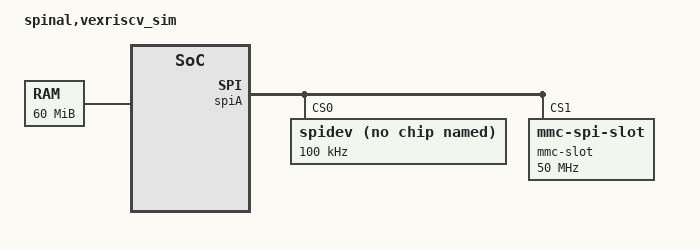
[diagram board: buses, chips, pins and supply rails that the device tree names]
/dts-v1/;

/ {
	#address-cells = <0x1>;
	#size-cells = <0x1>;
	compatible = "spinal,vexriscv";
	model = "spinal,vexriscv_sim";

	chosen {
		bootargs = "rootwait console=hvc0 root=/dev/ram0 init=/sbin/init swiotlb=32 loglevel=7";
		linux,initrd-start = <0x80C00000>;
		linux,initrd-end =   <0x82000000>; 
	};


    cpus {
		#address-cells = <0x1>;
		#size-cells = <0x0>;
		timebase-frequency = <100000000>;
            cpu@0 {
                    device_type = "cpu";
                    compatible = "riscv";
                    riscv,isa = "rv32im";
                    mmu-type = "riscv,sv32";
                    reg = <0>;
                    status = "okay";
                    L1: interrupt-controller {
                            #interrupt-cells = <0x00000001>;
                            interrupt-controller;
                            compatible = "riscv,cpu-intc";
                    };
	        };
        };

	memory@80400000 {
		device_type = "memory";
		reg = <0x80400000 0x03C00000>;
	};
	
	apbA@10000000 {
		compatible = "simple-bus";
		#address-cells = <0x1>;
		#size-cells = <0x1>;
        ranges = <0x0 0x10000000 0x01000000>;

		plic: interrupt-controller@c00000 {
			compatible = "sifive,plic-1.0.0", "sifive,fu540-c000-plic";
			#interrupt-cells = <1>;
			interrupt-controller;
			interrupts-extended = <&L1 11 &L1 9>;
			reg = <0x00C00000 0x400000>;
			riscv,ndev = <32>;
		};


        spiA: spi@20000 {
	        compatible = "spinal-lib,spi-1.0";
            #address-cells = <1>;
            #size-cells = <0>;   
	        reg = <0x020000 0x1000>;
                   
	        spidev@0 {
		        compatible = "spidev";
		        spi-max-frequency = <100000>;
		        reg = <0>;
	        };    
	        mmc-slot@1 {
		        compatible = "mmc-spi-slot";
		        reg = <1>;
		        voltage-ranges = <3300 3300>;
		        spi-max-frequency = <50000000>;
	        };
        };
	};


};


